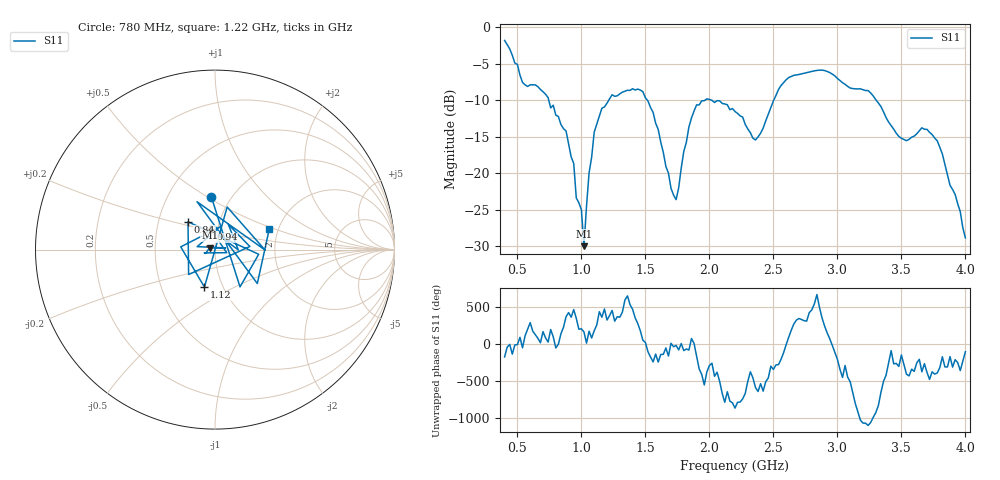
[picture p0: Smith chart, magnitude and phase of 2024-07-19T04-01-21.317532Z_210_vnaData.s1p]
!Created with skrf (http://scikit-rf.org).
# Hz S RI R 50.0
!freq ReS11 ImS11
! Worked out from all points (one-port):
!   181 points, 400 MHz to 4 GHz, reference 50 ohm
!   lowest |S11| = -30.0 dB at 1.02 GHz (marker M1), VSWR 1.07, Z = 47.1 + j1.03 ohm
!   |S11| at or under -10 dB: 745.2 MHz to 1.213 GHz (467.9 MHz wide, 47.8 % of centre); 2.02 GHz to 2.502 GHz (482.2 MHz wide, 21.3 % of centre); 3.304 GHz to end of sweep (the widest 3 of 4)
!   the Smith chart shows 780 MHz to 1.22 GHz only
!   S11 on the Smith chart (normalised r, x): 780 MHz: 0.81, +0.52; 840 MHz: 0.71, +0.23; 940 MHz: 0.93, +0.21; 1.12 GHz: 0.82, -0.36; 1.22 GHz: 1.79, +0.46
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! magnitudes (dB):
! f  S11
! 400 MHz  -1.8
! 540 MHz  -7.5
! 780 MHz  -10.7
! 840 MHz  -13.3
! 860 MHz  -13.9
! 940 MHz  -18.7
! 960 MHz  -23.4
! 1 GHz  -25.0
! 1.02 GHz  -30.0
! 1.06 GHz  -19.9
! 1.12 GHz  -13.3
! 1.22 GHz  -9.8
! 1.3 GHz  -9.1
! 1.48 GHz  -8.8
! 1.6 GHz  -14.0
! 1.7 GHz  -22.1
! 1.76 GHz  -22.0
! 1.84 GHz  -13.7
! 1.9 GHz  -10.6
! 2.2 GHz  -11.5
! 2.36 GHz  -15.4
! 2.66 GHz  -6.6
! 3.1 GHz  -8.3
! 3.24 GHz  -8.7
! 3.56 GHz  -15.4
! 3.66 GHz  -13.8
! 3.78 GHz  -15.6
! 4 GHz  -28.9
